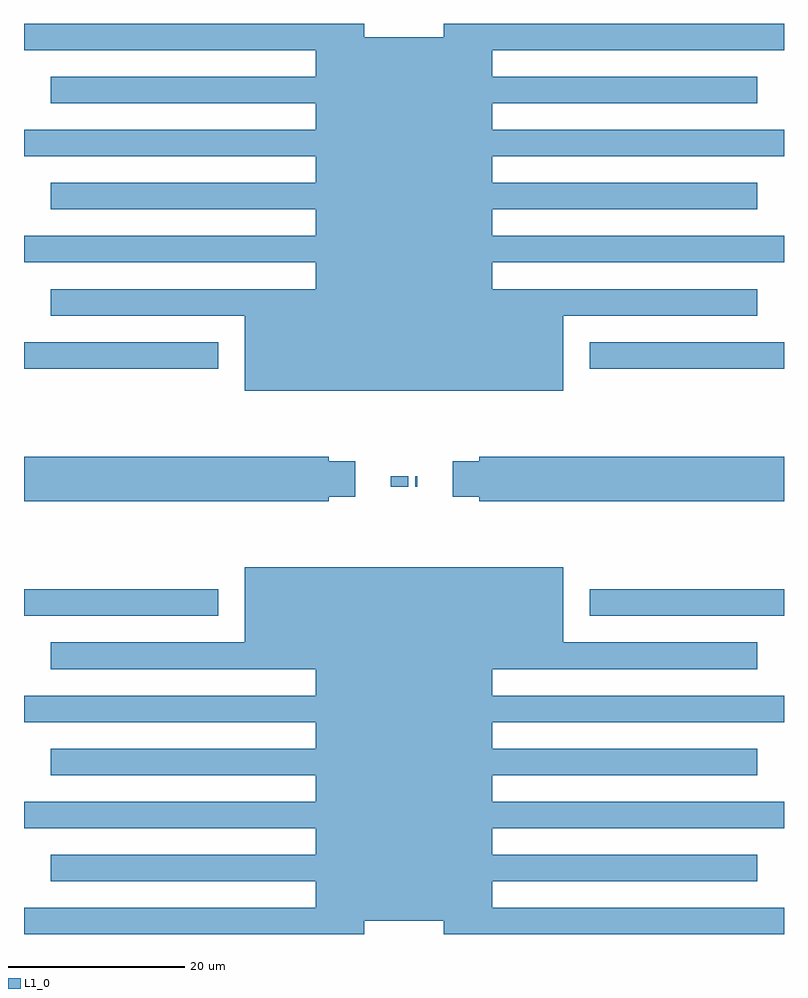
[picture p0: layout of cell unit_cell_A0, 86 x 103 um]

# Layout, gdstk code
from math import pi, radians
import gdstk
lib = gdstk.Library(unit=1e-6, precision=1e-09)
def R(c, l, rs):  # rectangles x0, y0, x1, y1
    for r in rs: c.add(gdstk.rectangle(r[:2], r[2:], *l))
def P(c, l, *ps):  # polygons
    for p in ps: c.add(gdstk.Polygon(p, *l))
L1_0 = (1, 0)

unnamed_88 = lib.new_cell('Unnamed_88')
P(unnamed_88, L1_0, [(38.5,0),(38.5,4.5),(0,4.5),(0,7.5),(38.5,7.5),(38.5,16.5),(0,16.5),(0,19.5),(38.5,19.5),(38.5,28.5),(0,28.5),(0,31.5),(22,31.5),(22,40),(50,40),(50,0)])

straight_l38p5_n2_csxs_e = lib.new_cell('straight_L38p5_N2_CSxs_e9659eb0')
R(straight_l38p5_n2_csxs_e, L1_0, [(0,-1.5,38.5,1.5)])

straight_array_n3_s9_l3_ = lib.new_cell('straight_array_N3_S9_L3_b91b2c6a')
straight_array_n3_s9_l3_.add(gdstk.Reference(straight_l38p5_n2_csxs_e, (0,0)))
straight_array_n3_s9_l3_.add(gdstk.Reference(straight_l38p5_n2_csxs_e, (0,12)))
straight_array_n3_s9_l3_.add(gdstk.Reference(straight_l38p5_n2_csxs_e, (0,24)))

straight_l22_n2_csxs_e96 = lib.new_cell('straight_L22_N2_CSxs_e9659eb0')
R(straight_l22_n2_csxs_e96, L1_0, [(0,-1.5,22,1.5)])

unnamed_84 = lib.new_cell('Unnamed_84')
unnamed_84.add(gdstk.Reference(straight_array_n3_s9_l3_, (-3,0)))
unnamed_84.add(gdstk.Reference(straight_l22_n2_csxs_e96, (-3,36)))

straight_l34p5_n2_csxs_3 = lib.new_cell('straight_L34p5_N2_CSxs_3e6774cf')
R(straight_l34p5_n2_csxs_3, L1_0, [(0,-2.5,34.5,2.5)])

triangle_x2_x2p5_y6_y3_l = lib.new_cell('triangle_X2_X2p5_Y6_Y3_L1_0')
P(triangle_x2_x2p5_y6_y3_l, L1_0, [(0,0),(0,6),(2.5,6),(2,3),(2,0)])

unnamed_86 = lib.new_cell('Unnamed_86')
unnamed_86.add(gdstk.Reference(straight_l34p5_n2_csxs_3, (-3,50)))
unnamed_86.add(gdstk.Reference(triangle_x2_x2p5_y6_y3_l, (34.5,50), rotation=3*pi/2, x_reflection=True))

unnamed_89 = lib.new_cell('Unnamed_89')
unnamed_89.add(gdstk.Reference(unnamed_88, (0,0)))
unnamed_89.add(gdstk.Reference(unnamed_84, (0,0)))
unnamed_89.add(gdstk.Reference(unnamed_86, (0,0)))

rectangle_s2_0p6_lwg_cf_ = lib.new_cell('rectangle_S2_0p6_LWG_CF_a6a46f17')
R(rectangle_s2_0p6_lwg_cf_, L1_0, [(0,0,2,0.6)])

rectangle_s0p2_1p2_lwg__ = lib.new_cell('rectangle_S0p2_1p2_LWG__107b6a9b')
R(rectangle_s0p2_1p2_lwg__, L1_0, [(0,0,0.2,1.2)])

unnamed_90 = lib.new_cell('Unnamed_90')
unnamed_90.add(gdstk.Reference(rectangle_s2_0p6_lwg_cf_, (0,0)))
unnamed_90.add(gdstk.Reference(rectangle_s0p2_1p2_lwg__, (2.8,-0.6)))

unit_cell_a0 = lib.new_cell('unit_cell_A0')
unit_cell_a0.add(gdstk.Reference(unnamed_89, (0,0)))
unit_cell_a0.add(gdstk.Reference(unnamed_89, (80,0), rotation=pi, x_reflection=True))
unit_cell_a0.add(gdstk.Reference(unnamed_89, (0,100), x_reflection=True))
unit_cell_a0.add(gdstk.Reference(unnamed_89, (80,100), rotation=pi))
unit_cell_a0.add(gdstk.Reference(unnamed_90, (38.5,49.7)))
unit_cell_a0.add(gdstk.Reference(unnamed_90, (38.5,49.7), x_reflection=True))

lib.write_gds('unit_cell_A0.gds')
